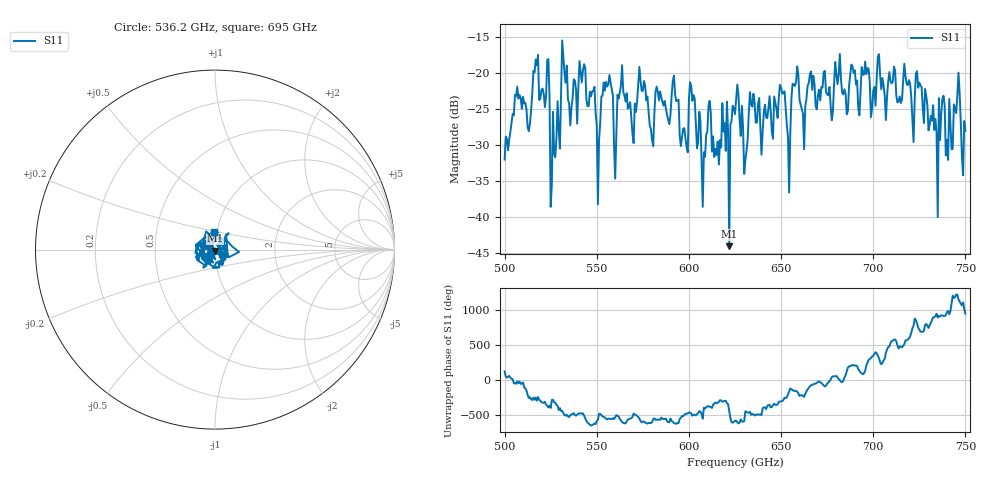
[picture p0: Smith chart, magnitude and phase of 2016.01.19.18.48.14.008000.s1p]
!Created with skrf (http://scikit-rf.org).
# GHz S RI R 50.0
!freq ReS11 ImS11
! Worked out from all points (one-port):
!   401 points, 500 GHz to 750 GHz, reference 50 ohm
!   lowest |S11| = -44.0 dB at 621.9 GHz (marker M1), VSWR 1.01, Z = 50 - j0.627 ohm
!   |S11| at or under -10 dB: start of sweep to end of sweep
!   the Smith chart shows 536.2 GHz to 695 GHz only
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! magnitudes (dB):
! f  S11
! 500 GHz  -32.0
! 506.9 GHz  -21.9
! 513.8 GHz  -27.1
! 516.9 GHz  -18.2
! 523.1 GHz  -18.2
! 526.2 GHz  -25.4
! 531.2 GHz  -15.5
! 542.5 GHz  -19.7
! 550.6 GHz  -38.2
! 553.8 GHz  -21.3
! 560.6 GHz  -28.5
! 562.5 GHz  -22.7
! 593.8 GHz  -23.8
! 598.1 GHz  -29.1
! 601.9 GHz  -23.9
! 608.1 GHz  -31.0
! 610.6 GHz  -24.6
! 621.9 GHz  -44.0
! 625 GHz  -25.7
! 630.6 GHz  -32.1
! 634.4 GHz  -24.7
! 650.6 GHz  -22.9
! 653.8 GHz  -29.0
! 656.2 GHz  -21.5
! 687.5 GHz  -20.3
! 718.8 GHz  -21.7
! 745.6 GHz  -23.3
! 750 GHz  -28.1
